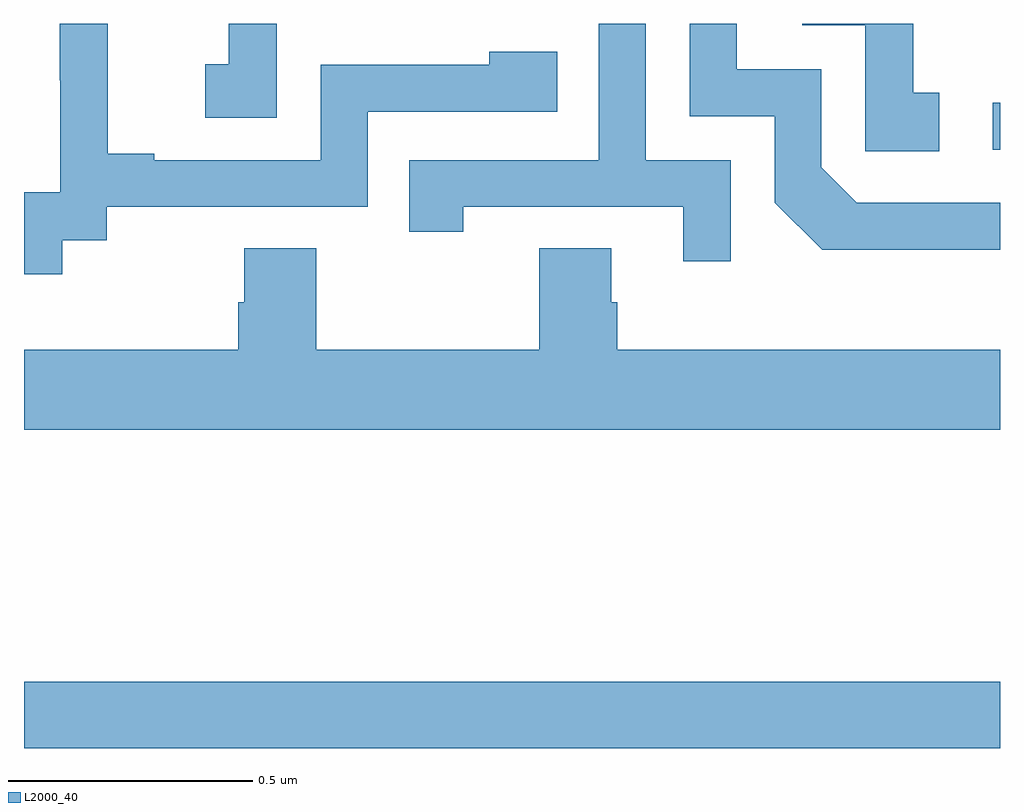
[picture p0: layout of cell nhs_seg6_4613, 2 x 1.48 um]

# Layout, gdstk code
import gdstk
lib = gdstk.Library(unit=1e-6, precision=1e-09)
def R(c, l, rs):  # rectangles x0, y0, x1, y1
    for r in rs: c.add(gdstk.rectangle(r[:2], r[2:], *l))
def P(c, l, *ps):  # polygons
    for p in ps: c.add(gdstk.Polygon(p, *l))
L2000_40 = (2000, 40)

nhs_seg6_4613 = lib.new_cell('nhs_seg6_4613')
R(nhs_seg6_4613, L2000_40, [(172,948.016,174,948.152), (173.985,949.242,174,949.338)])
P(nhs_seg6_4613, L2000_40, [(172.078,949.057),(172.17,949.057),(172.17,949.125),(172.704,949.125),(172.704,949.32),(173.093,949.32),(173.093,949.443),(172.953,949.443),(172.953,949.416),(172.608,949.416),(172.608,949.221),(172.267,949.221),(172.267,949.234),(172.172,949.234),(172.172,949.5),(172.073,949.5),(172.073,949.385),(172.074,949.385),(172.074,949.155),(172,949.155),(172,948.987),(172.078,948.987)],
  [(174,949.134),(173.706,949.134),(173.634,949.206),(173.634,949.407),(173.461,949.407),(173.461,949.5),(173.364,949.5),(173.364,949.311),(173.538,949.311),(173.538,949.134),(173.636,949.037),(174,949.037)],
  [(173.875,949.359),(173.822,949.359),(173.822,949.5),(173.595,949.5),(173.595,949.497),(173.724,949.497),(173.724,949.239),(173.875,949.239)],
  [(172.518,949.5),(172.42,949.5),(172.42,949.417),(172.371,949.417),(172.371,949.308),(172.518,949.308)],
  [(173.448,949.221),(173.274,949.221),(173.274,949.5),(173.178,949.5),(173.178,949.221),(172.789,949.221),(172.789,949.074),(172.9,949.074),(172.9,949.125),(173.351,949.125),(173.351,949.014),(173.448,949.014)],
  [(174,948.832),(173.216,948.832),(173.216,948.93),(173.203,948.93),(173.203,949.04),(173.056,949.04),(173.056,948.832),(172.599,948.832),(172.599,949.04),(172.451,949.04),(172.451,948.93),(172.439,948.93),(172.439,948.832),(172,948.832),(172,948.668),(174,948.668)])

lib.write_gds('nhs_seg6_4613.gds')
